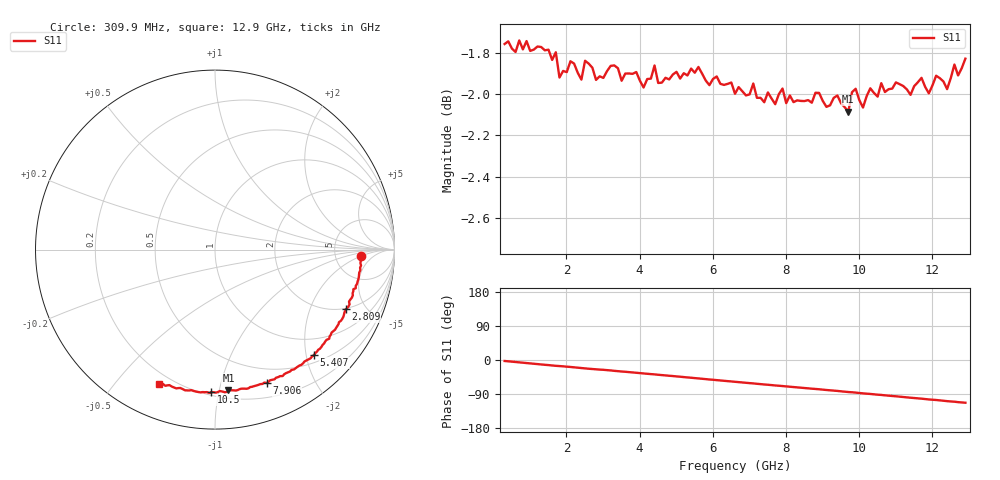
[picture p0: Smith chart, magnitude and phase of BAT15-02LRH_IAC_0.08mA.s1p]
! Infineon Technologies  Discrete & RF Semiconductors
! BAT15-02LRH
! IAC = 0.08 mA
! One-Port S-Parameters
# Hz  S  MA  R  50
!f  S11
!Hz  Mag  Ang
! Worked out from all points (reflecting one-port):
!   127 points, 309.9 MHz to 12.9 GHz, reference 50 ohm
!   lowest |S11| = -2.1 dB at 9.705 GHz (marker M1), VSWR 8.37, Z = 13 - j53.3 ohm
!   phase of S11 starts at -3 deg and turns -110 deg over the sweep
!   S11 on the Smith chart (normalised r, x): 309.9 MHz: 9.45, -2.11; 2.809 GHz: 1.94, -3.60; 5.407 GHz: 0.64, -2.15; 7.906 GHz: 0.35, -1.40; 10.5 GHz: 0.22, -0.95; 12.9 GHz: 0.15, -0.65
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3.0985e8  0.817 -2.6
9.0955e8  0.8183 -8.1
1.70915e9  0.8132 -15.4
1.8091e9  0.8018 -16.0
1.90905e9  0.8048 -16.7
2.10895e9  0.8091 -18.3
2.4088e9  0.8009 -21.2
2.50875e9  0.8094 -22.1
2.8086e9  0.8007 -24.6
3.2084e9  0.8071 -27.5
3.50825e9  0.8004 -30.4
4.4078e9  0.8072 -38.0
5.10745e9  0.8013 -44.1
5.4073e9  0.8058 -46.8
6.6067e9  0.7945 -57.5
7.90605e9  0.7969 -68.8
8.2059e9  0.7908 -71.4
8.90555e9  0.7949 -77.3
9.70515e9  0.7867 -84.5
9.8051e9  0.7953 -85.2
1.050475e10  0.7933 -91.5
1.10045e10  0.7996 -95.8
1.14043e10  0.7941 -99.6
1.170415e10  0.8017 -102.0
1.24038e10  0.7966 -108.6
1.26037e10  0.8077 -110.1
1.270365e10  0.8027 -111.2
1.290355e10  0.8103 -112.8
